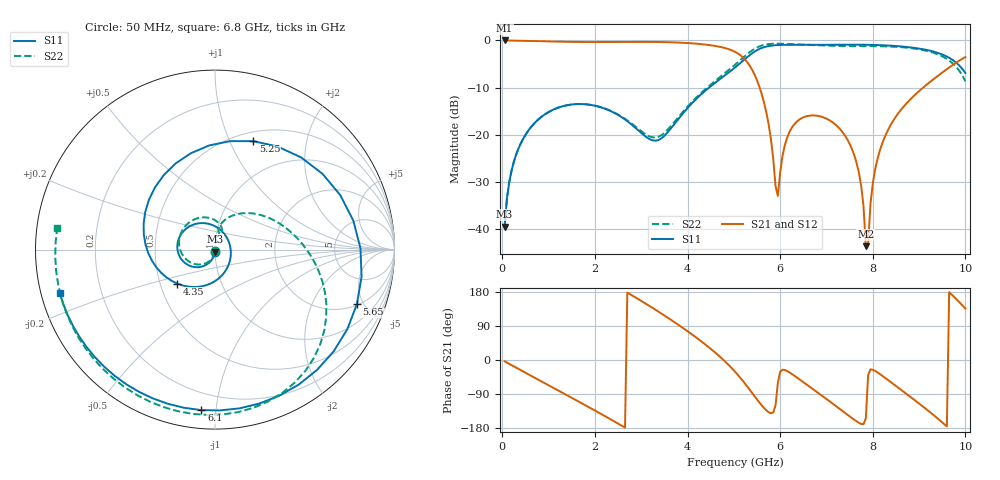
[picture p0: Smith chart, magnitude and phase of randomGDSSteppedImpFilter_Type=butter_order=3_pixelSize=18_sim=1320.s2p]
! freq	dB(S11)	phase(S11)	dB(S12)	phase(S12)
!  dB(S21)	phase(S21)	dB(S22)	phase(S22)
!S-par simulation data
#  GHz  S  DB  R 50
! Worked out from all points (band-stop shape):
!   200 points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, 50 MHz to 10 GHz, reference 50 ohm
!   highest |S21| = -0.01 dB at 50 MHz (marker M1); lowest = -43.7 dB at 7.85 GHz (marker M2)
!   |S21| within 3 dB of the highest: start of sweep to 5.122 GHz
!   lowest |S11| = -39.5 dB at 50 MHz (marker M3), VSWR 1.02, Z = 50 - j1.06 ohm
!   |S11| at or under -10 dB: start of sweep to 4.466 GHz
!   |S22| runs from -39.5 to -0.7 dB; largest |S21 - S12| = 0
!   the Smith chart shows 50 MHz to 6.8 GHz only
!   S11 on the Smith chart (normalised r, x): 50 MHz: 1.00, -0.02; 4.35 GHz: 0.61, -0.25; 5.25 GHz: 0.60, +1.23; 5.65 GHz: 2.08, -4.47; 6.1 GHz: 0.10, -0.91; 6.8 GHz: 0.05, -0.14
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0.05  -39.49 -91.1  -0.01 -3.4  -0.01 -3.4  -39.50 -91.8
0.2  -27.63 -101.9  -0.03 -13.5  -0.03 -13.5  -27.64 -104.6
0.5  -20.05 -120.7  -0.09 -33.6  -0.09 -33.6  -20.06 -127.2
1.75  -13.52 164.4  -0.34 -116.4  -0.34 -116.4  -13.52 141.6
2.6  -16.43 106.1  -0.32 -174.9  -0.32 -174.9  -16.32 84.0
3.4  -21.00 -8.2  -0.34 125.4  -0.34 125.4  -20.32 76.7
4.35  -10.96 -138.1  -0.84 44.2  -0.84 44.2  -10.65 43.3
5.05  -5.55 114.4  -2.55 -34.2  -2.55 -34.2  -4.95 -8.2
5.25  -3.87 70.6  -4.15 -63.7  -4.15 -63.7  -3.22 -26.0
5.65  -1.44 -21.0  -13.12 -126.3  -13.12 -126.3  -0.95 -70.5
5.95  -0.99 -74.1  -33.01 -60.5  -33.01 -60.5  -0.69 -103.1
6.1  -0.94 -94.9  -22.27 -26.3  -22.27 -26.3  -0.73 -118.2
6.7  -0.93 -156.0  -15.91 -76.1  -15.91 -76.1  -1.00 -177.4
6.8  -0.93 -164.3  -15.99 -85.0  -15.99 -85.0  -1.04 172.2
7.55  -0.90 138.8  -23.04 -153.2  -23.04 -153.2  -1.20 85.2
7.75  -0.90 123.9  -30.86 -168.8  -30.86 -168.8  -1.20 60.6
7.85  -0.92 116.4  -43.67 -153.8  -43.67 -153.8  -1.20 48.4
8.05  -0.96 101.1  -27.45 -28.7  -27.45 -28.7  -1.22 24.6
8.35  -1.09 77.3  -18.61 -54.7  -18.61 -54.7  -1.29 -8.9
9.15  -1.99 7.9  -9.50 -129.2  -9.50 -129.2  -2.19 -86.7
9.65  -3.68 -41.2  -5.74 178.9  -5.74 178.9  -4.28 -136.8
10  -6.91 -75.7  -3.54 135.6  -3.54 135.6  -8.68 175.2
